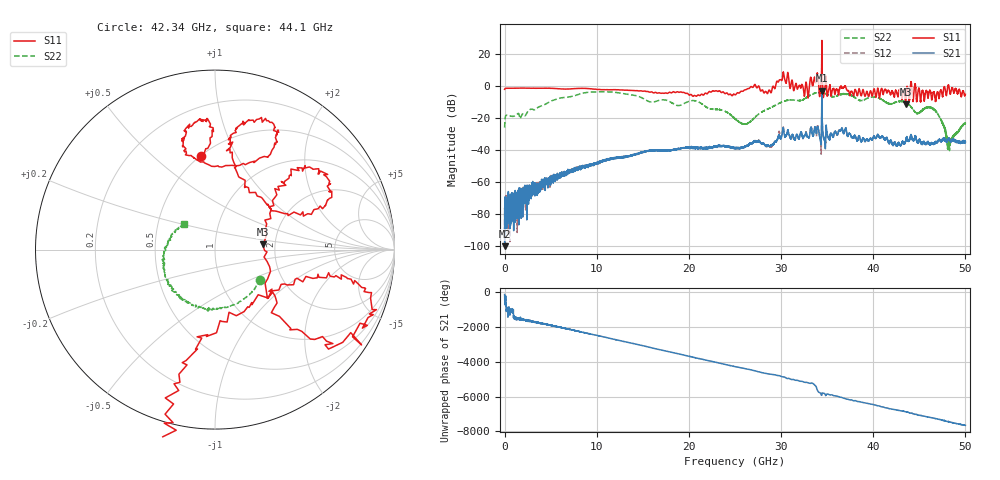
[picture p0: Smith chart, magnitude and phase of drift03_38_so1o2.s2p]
!Created with skrf (http://scikit-rf.org).
# Hz S RI R 50.0
!freq ReS11 ImS11 ReS21 ImS21 ReS12 ImS12 ReS22 ImS22
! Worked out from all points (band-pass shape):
!   10000 points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, 5.3 MHz to 50 GHz, reference 50 ohm
!   highest |S21| = -2.88 dB at 34.43 GHz (marker M1); lowest = -100.2 dB at 5.3 MHz (marker M2)
!   |S21| within 3 dB of the highest: 34.42757 GHz to 34.43493 GHz (7.363 MHz wide, 0.0214 % of centre)
!   lowest |S11| = -11.5 dB at 43.52 GHz (marker M3), VSWR 1.73, Z = 85.8 + j5.38 ohm
!   |S11| at or under -10 dB: 43.49188 GHz to 43.5394 GHz (47.52 MHz wide, 0.109 % of centre); 45.13942 GHz to 45.14044 GHz (1.022 MHz wide, 0.00226 % of centre)
!   |S22| runs from -40.4 to -3.6 dB; largest |S21 - S12| = 0.24
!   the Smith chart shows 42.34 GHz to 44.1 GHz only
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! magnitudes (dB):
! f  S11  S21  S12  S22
! 5.3 MHz  -2.1  -100.2  -91.8  -26.1
! 315.3 MHz  -1.4  -71.9  -77.5  -18.2
! 2.9 GHz  -1.4  -66.0  -63.9  -14.4
! 8.34 GHz  -1.5  -50.9  -51.1  -4.7
! 16.67 GHz  -4.4  -40.3  -40.4  -9.1
! 20.75 GHz  -6.3  -38.3  -38.7  -9.3
! 25.01 GHz  -5.5  -38.8  -38.8  -20.6
! 26.22 GHz  -2.2  -37.8  -37.5  -23.6
! 28.72 GHz  -2.5  -37.6  -37.7  -14.1
! 30.14 GHz  4.4  -29.5  -29.6  -9.9
! 32.74 GHz  2.0  -29.5  -29.2  -7.3
! 33.34 GHz  2.6  -27.5  -27.8  -5.3
! 33.82 GHz  4.0  -29.1  -29.6  -4.3
! 34.43 GHz  28.5  -2.9  -5.1  -4.0
! 36.49 GHz  -0.2  -27.7  -27.9  -5.3
! 41.67 GHz  -3.0  -35.5  -35.7  -11.1
! 43.52 GHz  -11.5  -34.3  -34.7  -10.4
! 44.74 GHz  -9.1  -34.7  -35.0  -17.3
! 46.64 GHz  -4.7  -35.7  -35.8  -15.1
! 47.5 GHz  -6.2  -33.5  -33.7  -23.2
! 48.22 GHz  -0.6  -33.4  -32.9  -37.2
! 50 GHz  -5.2  -35.1  -35.0  -23.4
